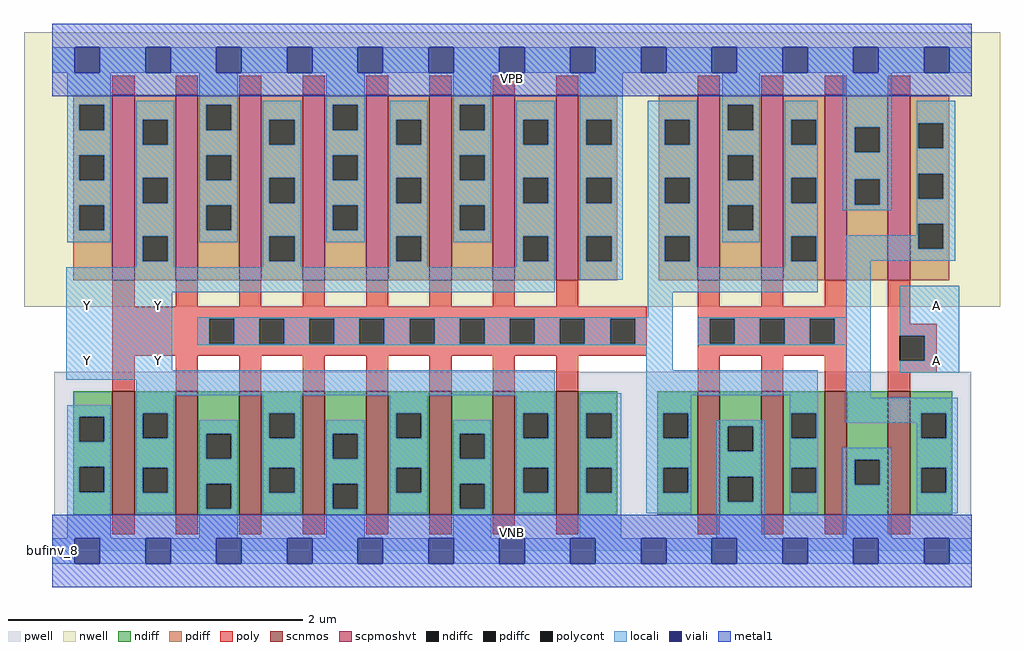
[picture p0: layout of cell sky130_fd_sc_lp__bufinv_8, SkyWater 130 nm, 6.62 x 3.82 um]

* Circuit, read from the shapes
.subckt sky130_fd_sc_lp__bufinv_8 A VGND VNB VPB VPWR Y
XM1 Y n1 VGND VNB sky130_fd_pr__nfet_01v8 w=0.84 l=0.15 m=8
XM2 VGND n2 n1 VNB sky130_fd_pr__nfet_01v8 w=0.84 l=0.15 m=3
XM3 n2 A VGND VNB sky130_fd_pr__nfet_01v8 w=0.84 l=0.15
XM4 Y n1 VPWR VPB sky130_fd_pr__pfet_01v8_hvt w=1.26 l=0.15 m=8
XM5 VPWR n2 n1 VPB sky130_fd_pr__pfet_01v8_hvt w=1.26 l=0.15 m=3
XM6 n2 A VPWR VPB sky130_fd_pr__pfet_01v8_hvt w=1.26 l=0.15
.ends

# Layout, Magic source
magic
tech sky130A
magscale 1 2
<< nwell >>
rect -38 331 1286 704
<< pwell >>
rect 3 49 1247 243
rect 0 0 1248 49
<< scnmos >>
rect 82 49 112 217
rect 168 49 198 217
rect 254 49 284 217
rect 340 49 370 217
rect 426 49 456 217
rect 512 49 542 217
rect 598 49 628 217
rect 684 49 714 217
rect 876 49 906 217
rect 962 49 992 217
rect 1048 49 1078 217
rect 1134 49 1164 217
<< scpmoshvt >>
rect 82 367 112 619
rect 168 367 198 619
rect 254 367 284 619
rect 340 367 370 619
rect 426 367 456 619
rect 512 367 542 619
rect 598 367 628 619
rect 684 367 714 619
rect 876 367 906 619
rect 962 367 992 619
rect 1048 367 1078 619
rect 1134 367 1164 619
<< ndiff >>
rect 29 182 82 217
rect 29 148 37 182
rect 71 148 82 182
rect 29 114 82 148
rect 29 80 37 114
rect 71 80 82 114
rect 29 49 82 80
rect 112 187 168 217
rect 112 153 123 187
rect 157 153 168 187
rect 112 113 168 153
rect 112 79 123 113
rect 157 79 168 113
rect 112 49 168 79
rect 198 159 254 217
rect 198 125 209 159
rect 243 125 254 159
rect 198 91 254 125
rect 198 57 209 91
rect 243 57 254 91
rect 198 49 254 57
rect 284 187 340 217
rect 284 153 295 187
rect 329 153 340 187
rect 284 113 340 153
rect 284 79 295 113
rect 329 79 340 113
rect 284 49 340 79
rect 370 159 426 217
rect 370 125 381 159
rect 415 125 426 159
rect 370 91 426 125
rect 370 57 381 91
rect 415 57 426 91
rect 370 49 426 57
rect 456 187 512 217
rect 456 153 467 187
rect 501 153 512 187
rect 456 113 512 153
rect 456 79 467 113
rect 501 79 512 113
rect 456 49 512 79
rect 542 159 598 217
rect 542 125 553 159
rect 587 125 598 159
rect 542 91 598 125
rect 542 57 553 91
rect 587 57 598 91
rect 542 49 598 57
rect 628 187 684 217
rect 628 153 639 187
rect 673 153 684 187
rect 628 113 684 153
rect 628 79 639 113
rect 673 79 684 113
rect 628 49 684 79
rect 714 187 767 217
rect 714 153 725 187
rect 759 153 767 187
rect 714 113 767 153
rect 714 79 725 113
rect 759 79 767 113
rect 714 49 767 79
rect 821 187 876 217
rect 821 153 829 187
rect 863 153 876 187
rect 821 113 876 153
rect 821 79 829 113
rect 863 79 876 113
rect 821 49 876 79
rect 906 169 962 217
rect 906 135 917 169
rect 951 135 962 169
rect 906 101 962 135
rect 906 67 917 101
rect 951 67 962 101
rect 906 49 962 67
rect 992 187 1048 217
rect 992 153 1003 187
rect 1037 153 1048 187
rect 992 113 1048 153
rect 992 79 1003 113
rect 1037 79 1048 113
rect 992 49 1048 79
rect 1078 124 1134 217
rect 1078 90 1089 124
rect 1123 90 1134 124
rect 1078 49 1134 90
rect 1164 187 1221 217
rect 1164 153 1179 187
rect 1213 153 1221 187
rect 1164 113 1221 153
rect 1164 79 1179 113
rect 1213 79 1221 113
rect 1164 49 1221 79
<< pdiff >>
rect 29 605 82 619
rect 29 571 37 605
rect 71 571 82 605
rect 29 537 82 571
rect 29 503 37 537
rect 71 503 82 537
rect 29 469 82 503
rect 29 435 37 469
rect 71 435 82 469
rect 29 367 82 435
rect 112 585 168 619
rect 112 551 123 585
rect 157 551 168 585
rect 112 506 168 551
rect 112 472 123 506
rect 157 472 168 506
rect 112 427 168 472
rect 112 393 123 427
rect 157 393 168 427
rect 112 367 168 393
rect 198 605 254 619
rect 198 571 209 605
rect 243 571 254 605
rect 198 537 254 571
rect 198 503 209 537
rect 243 503 254 537
rect 198 469 254 503
rect 198 435 209 469
rect 243 435 254 469
rect 198 367 254 435
rect 284 585 340 619
rect 284 551 295 585
rect 329 551 340 585
rect 284 506 340 551
rect 284 472 295 506
rect 329 472 340 506
rect 284 427 340 472
rect 284 393 295 427
rect 329 393 340 427
rect 284 367 340 393
rect 370 605 426 619
rect 370 571 381 605
rect 415 571 426 605
rect 370 537 426 571
rect 370 503 381 537
rect 415 503 426 537
rect 370 469 426 503
rect 370 435 381 469
rect 415 435 426 469
rect 370 367 426 435
rect 456 585 512 619
rect 456 551 467 585
rect 501 551 512 585
rect 456 506 512 551
rect 456 472 467 506
rect 501 472 512 506
rect 456 427 512 472
rect 456 393 467 427
rect 501 393 512 427
rect 456 367 512 393
rect 542 605 598 619
rect 542 571 553 605
rect 587 571 598 605
rect 542 537 598 571
rect 542 503 553 537
rect 587 503 598 537
rect 542 469 598 503
rect 542 435 553 469
rect 587 435 598 469
rect 542 367 598 435
rect 628 585 684 619
rect 628 551 639 585
rect 673 551 684 585
rect 628 506 684 551
rect 628 472 639 506
rect 673 472 684 506
rect 628 427 684 472
rect 628 393 639 427
rect 673 393 684 427
rect 628 367 684 393
rect 714 585 767 619
rect 714 551 725 585
rect 759 551 767 585
rect 714 506 767 551
rect 714 472 725 506
rect 759 472 767 506
rect 714 427 767 472
rect 714 393 725 427
rect 759 393 767 427
rect 714 367 767 393
rect 823 585 876 619
rect 823 551 831 585
rect 865 551 876 585
rect 823 506 876 551
rect 823 472 831 506
rect 865 472 876 506
rect 823 427 876 472
rect 823 393 831 427
rect 865 393 876 427
rect 823 367 876 393
rect 906 605 962 619
rect 906 571 917 605
rect 951 571 962 605
rect 906 537 962 571
rect 906 503 917 537
rect 951 503 962 537
rect 906 469 962 503
rect 906 435 917 469
rect 951 435 962 469
rect 906 367 962 435
rect 992 585 1048 619
rect 992 551 1003 585
rect 1037 551 1048 585
rect 992 506 1048 551
rect 992 472 1003 506
rect 1037 472 1048 506
rect 992 427 1048 472
rect 992 393 1003 427
rect 1037 393 1048 427
rect 992 367 1048 393
rect 1078 575 1134 619
rect 1078 541 1089 575
rect 1123 541 1134 575
rect 1078 504 1134 541
rect 1078 470 1089 504
rect 1123 470 1134 504
rect 1078 367 1134 470
rect 1164 580 1217 619
rect 1164 546 1175 580
rect 1209 546 1217 580
rect 1164 512 1217 546
rect 1164 478 1175 512
rect 1209 478 1217 512
rect 1164 444 1217 478
rect 1164 410 1175 444
rect 1209 410 1217 444
rect 1164 367 1217 410
<< ndiffc >>
rect 37 148 71 182
rect 37 80 71 114
rect 123 153 157 187
rect 123 79 157 113
rect 209 125 243 159
rect 209 57 243 91
rect 295 153 329 187
rect 295 79 329 113
rect 381 125 415 159
rect 381 57 415 91
rect 467 153 501 187
rect 467 79 501 113
rect 553 125 587 159
rect 553 57 587 91
rect 639 153 673 187
rect 639 79 673 113
rect 725 153 759 187
rect 725 79 759 113
rect 829 153 863 187
rect 829 79 863 113
rect 917 135 951 169
rect 917 67 951 101
rect 1003 153 1037 187
rect 1003 79 1037 113
rect 1089 90 1123 124
rect 1179 153 1213 187
rect 1179 79 1213 113
<< pdiffc >>
rect 37 571 71 605
rect 37 503 71 537
rect 37 435 71 469
rect 123 551 157 585
rect 123 472 157 506
rect 123 393 157 427
rect 209 571 243 605
rect 209 503 243 537
rect 209 435 243 469
rect 295 551 329 585
rect 295 472 329 506
rect 295 393 329 427
rect 381 571 415 605
rect 381 503 415 537
rect 381 435 415 469
rect 467 551 501 585
rect 467 472 501 506
rect 467 393 501 427
rect 553 571 587 605
rect 553 503 587 537
rect 553 435 587 469
rect 639 551 673 585
rect 639 472 673 506
rect 639 393 673 427
rect 725 551 759 585
rect 725 472 759 506
rect 725 393 759 427
rect 831 551 865 585
rect 831 472 865 506
rect 831 393 865 427
rect 917 571 951 605
rect 917 503 951 537
rect 917 435 951 469
rect 1003 551 1037 585
rect 1003 472 1037 506
rect 1003 393 1037 427
rect 1089 541 1123 575
rect 1089 470 1123 504
rect 1175 546 1209 580
rect 1175 478 1209 512
rect 1175 410 1209 444
<< poly >>
rect 82 619 112 645
rect 168 619 198 645
rect 254 619 284 645
rect 340 619 370 645
rect 426 619 456 645
rect 512 619 542 645
rect 598 619 628 645
rect 684 619 714 645
rect 876 619 906 645
rect 962 619 992 645
rect 1048 619 1078 645
rect 1134 619 1164 645
rect 82 331 112 367
rect 168 331 198 367
rect 254 331 284 367
rect 340 331 370 367
rect 426 331 456 367
rect 512 331 542 367
rect 598 331 628 367
rect 684 331 714 367
rect 876 331 906 367
rect 962 331 992 367
rect 1048 331 1078 367
rect 82 315 807 331
rect 82 281 213 315
rect 247 281 281 315
rect 315 281 349 315
rect 383 281 417 315
rect 451 281 485 315
rect 519 281 553 315
rect 587 281 621 315
rect 655 281 689 315
rect 723 281 757 315
rect 791 281 807 315
rect 82 265 807 281
rect 876 315 1078 331
rect 876 281 892 315
rect 926 281 960 315
rect 994 281 1028 315
rect 1062 281 1078 315
rect 876 265 1078 281
rect 82 217 112 265
rect 168 217 198 265
rect 254 217 284 265
rect 340 217 370 265
rect 426 217 456 265
rect 512 217 542 265
rect 598 217 628 265
rect 684 217 714 265
rect 876 217 906 265
rect 962 217 992 265
rect 1048 217 1078 265
rect 1134 308 1164 367
rect 1134 292 1200 308
rect 1134 258 1150 292
rect 1184 258 1200 292
rect 1134 242 1200 258
rect 1134 217 1164 242
rect 82 23 112 49
rect 168 23 198 49
rect 254 23 284 49
rect 340 23 370 49
rect 426 23 456 49
rect 512 23 542 49
rect 598 23 628 49
rect 684 23 714 49
rect 876 23 906 49
rect 962 23 992 49
rect 1048 23 1078 49
rect 1134 23 1164 49
<< polycont >>
rect 213 281 247 315
rect 281 281 315 315
rect 349 281 383 315
rect 417 281 451 315
rect 485 281 519 315
rect 553 281 587 315
rect 621 281 655 315
rect 689 281 723 315
rect 757 281 791 315
rect 892 281 926 315
rect 960 281 994 315
rect 1028 281 1062 315
rect 1150 258 1184 292
<< locali >>
rect 0 649 31 683
rect 65 649 127 683
rect 161 649 223 683
rect 257 649 319 683
rect 353 649 415 683
rect 449 649 511 683
rect 545 649 607 683
rect 641 649 703 683
rect 737 649 799 683
rect 833 649 895 683
rect 929 649 991 683
rect 1025 649 1087 683
rect 1121 649 1183 683
rect 1217 649 1248 683
rect 21 605 80 649
rect 21 571 37 605
rect 71 571 80 605
rect 21 537 80 571
rect 21 503 37 537
rect 71 503 80 537
rect 21 469 80 503
rect 21 435 37 469
rect 71 435 80 469
rect 21 419 80 435
rect 114 585 166 611
rect 114 551 123 585
rect 157 551 166 585
rect 114 506 166 551
rect 114 472 123 506
rect 157 472 166 506
rect 114 427 166 472
rect 114 393 123 427
rect 157 393 166 427
rect 200 605 252 649
rect 200 571 209 605
rect 243 571 252 605
rect 200 537 252 571
rect 200 503 209 537
rect 243 503 252 537
rect 200 469 252 503
rect 200 435 209 469
rect 243 435 252 469
rect 200 419 252 435
rect 286 585 338 611
rect 286 551 295 585
rect 329 551 338 585
rect 286 506 338 551
rect 286 472 295 506
rect 329 472 338 506
rect 286 427 338 472
rect 114 385 166 393
rect 286 393 295 427
rect 329 393 338 427
rect 372 605 424 649
rect 372 571 381 605
rect 415 571 424 605
rect 372 537 424 571
rect 372 503 381 537
rect 415 503 424 537
rect 372 469 424 503
rect 372 435 381 469
rect 415 435 424 469
rect 372 419 424 435
rect 458 585 510 611
rect 458 551 467 585
rect 501 551 510 585
rect 458 506 510 551
rect 458 472 467 506
rect 501 472 510 506
rect 458 427 510 472
rect 286 385 338 393
rect 458 393 467 427
rect 501 393 510 427
rect 544 605 596 649
rect 544 571 553 605
rect 587 571 596 605
rect 544 537 596 571
rect 544 503 553 537
rect 587 503 596 537
rect 544 469 596 503
rect 544 435 553 469
rect 587 435 596 469
rect 544 419 596 435
rect 630 585 682 611
rect 630 551 639 585
rect 673 551 682 585
rect 630 506 682 551
rect 630 472 639 506
rect 673 472 682 506
rect 630 427 682 472
rect 458 385 510 393
rect 630 393 639 427
rect 673 393 682 427
rect 630 385 682 393
rect 19 351 682 385
rect 716 585 774 649
rect 716 551 725 585
rect 759 551 774 585
rect 716 506 774 551
rect 716 472 725 506
rect 759 472 774 506
rect 716 427 774 472
rect 716 393 725 427
rect 759 393 774 427
rect 716 368 774 393
rect 808 585 875 611
rect 808 551 831 585
rect 865 551 875 585
rect 808 506 875 551
rect 808 472 831 506
rect 865 472 875 506
rect 808 427 875 472
rect 808 393 831 427
rect 865 393 875 427
rect 909 605 960 649
rect 909 571 917 605
rect 951 571 960 605
rect 909 537 960 571
rect 909 503 917 537
rect 951 503 960 537
rect 909 469 960 503
rect 909 435 917 469
rect 951 435 960 469
rect 909 419 960 435
rect 994 585 1039 611
rect 994 551 1003 585
rect 1037 551 1039 585
rect 994 506 1039 551
rect 994 472 1003 506
rect 1037 472 1039 506
rect 994 427 1039 472
rect 1073 575 1139 649
rect 1073 541 1089 575
rect 1123 541 1139 575
rect 1073 504 1139 541
rect 1073 470 1089 504
rect 1123 470 1139 504
rect 1073 462 1139 470
rect 1173 580 1225 611
rect 1173 546 1175 580
rect 1209 546 1225 580
rect 1173 512 1225 546
rect 1173 478 1175 512
rect 1209 478 1225 512
rect 1173 444 1225 478
rect 1173 428 1175 444
rect 808 385 875 393
rect 994 393 1003 427
rect 1037 393 1039 427
rect 994 385 1039 393
rect 808 351 1039 385
rect 1077 410 1175 428
rect 1209 410 1225 444
rect 1077 394 1225 410
rect 19 245 163 351
rect 808 317 842 351
rect 1077 317 1111 394
rect 197 315 842 317
rect 197 281 213 315
rect 247 281 281 315
rect 315 281 349 315
rect 383 281 417 315
rect 451 281 485 315
rect 519 281 553 315
rect 587 281 621 315
rect 655 281 689 315
rect 723 281 757 315
rect 791 281 842 315
rect 197 279 842 281
rect 876 315 1111 317
rect 876 281 892 315
rect 926 281 960 315
rect 994 281 1028 315
rect 1062 281 1111 315
rect 876 279 1111 281
rect 806 245 842 279
rect 19 232 682 245
rect 114 211 682 232
rect 21 182 80 198
rect 21 148 37 182
rect 71 148 80 182
rect 21 114 80 148
rect 21 80 37 114
rect 71 80 80 114
rect 21 17 80 80
rect 114 187 166 211
rect 114 153 123 187
rect 157 153 166 187
rect 286 187 338 211
rect 114 113 166 153
rect 114 79 123 113
rect 157 79 166 113
rect 114 51 166 79
rect 200 159 252 177
rect 200 125 209 159
rect 243 125 252 159
rect 200 91 252 125
rect 200 57 209 91
rect 243 57 252 91
rect 200 17 252 57
rect 286 153 295 187
rect 329 153 338 187
rect 458 187 510 211
rect 286 113 338 153
rect 286 79 295 113
rect 329 79 338 113
rect 286 51 338 79
rect 372 159 424 177
rect 372 125 381 159
rect 415 125 424 159
rect 372 91 424 125
rect 372 57 381 91
rect 415 57 424 91
rect 372 17 424 57
rect 458 153 467 187
rect 501 153 510 187
rect 630 187 682 211
rect 458 113 510 153
rect 458 79 467 113
rect 501 79 510 113
rect 458 51 510 79
rect 544 159 596 177
rect 544 125 553 159
rect 587 125 596 159
rect 544 91 596 125
rect 544 57 553 91
rect 587 57 596 91
rect 544 17 596 57
rect 630 153 639 187
rect 673 153 682 187
rect 630 113 682 153
rect 630 79 639 113
rect 673 79 682 113
rect 630 51 682 79
rect 716 187 772 214
rect 716 153 725 187
rect 759 153 772 187
rect 716 113 772 153
rect 716 79 725 113
rect 759 79 772 113
rect 716 17 772 79
rect 806 211 1039 245
rect 806 187 867 211
rect 806 153 829 187
rect 863 153 867 187
rect 1001 187 1039 211
rect 806 113 867 153
rect 806 79 829 113
rect 863 79 867 113
rect 806 51 867 79
rect 901 169 967 177
rect 901 135 917 169
rect 951 135 967 169
rect 901 101 967 135
rect 901 67 917 101
rect 951 67 967 101
rect 901 17 967 67
rect 1001 153 1003 187
rect 1037 153 1039 187
rect 1077 208 1111 279
rect 1150 292 1231 360
rect 1184 258 1231 292
rect 1150 242 1231 258
rect 1077 187 1229 208
rect 1077 174 1179 187
rect 1001 113 1039 153
rect 1173 153 1179 174
rect 1213 153 1229 187
rect 1001 79 1003 113
rect 1037 79 1039 113
rect 1001 51 1039 79
rect 1073 124 1139 140
rect 1073 90 1089 124
rect 1123 90 1139 124
rect 1073 17 1139 90
rect 1173 113 1229 153
rect 1173 79 1179 113
rect 1213 79 1229 113
rect 1173 51 1229 79
rect 0 -17 31 17
rect 65 -17 127 17
rect 161 -17 223 17
rect 257 -17 319 17
rect 353 -17 415 17
rect 449 -17 511 17
rect 545 -17 607 17
rect 641 -17 703 17
rect 737 -17 799 17
rect 833 -17 895 17
rect 929 -17 991 17
rect 1025 -17 1087 17
rect 1121 -17 1183 17
rect 1217 -17 1248 17
<< viali >>
rect 31 649 65 683
rect 127 649 161 683
rect 223 649 257 683
rect 319 649 353 683
rect 415 649 449 683
rect 511 649 545 683
rect 607 649 641 683
rect 703 649 737 683
rect 799 649 833 683
rect 895 649 929 683
rect 991 649 1025 683
rect 1087 649 1121 683
rect 1183 649 1217 683
rect 31 -17 65 17
rect 127 -17 161 17
rect 223 -17 257 17
rect 319 -17 353 17
rect 415 -17 449 17
rect 511 -17 545 17
rect 607 -17 641 17
rect 703 -17 737 17
rect 799 -17 833 17
rect 895 -17 929 17
rect 991 -17 1025 17
rect 1087 -17 1121 17
rect 1183 -17 1217 17
<< metal1 >>
rect 0 683 1248 715
rect 0 649 31 683
rect 65 649 127 683
rect 161 649 223 683
rect 257 649 319 683
rect 353 649 415 683
rect 449 649 511 683
rect 545 649 607 683
rect 641 649 703 683
rect 737 649 799 683
rect 833 649 895 683
rect 929 649 991 683
rect 1025 649 1087 683
rect 1121 649 1183 683
rect 1217 649 1248 683
rect 0 617 1248 649
rect 0 17 1248 49
rect 0 -17 31 17
rect 65 -17 127 17
rect 161 -17 223 17
rect 257 -17 319 17
rect 353 -17 415 17
rect 449 -17 511 17
rect 545 -17 607 17
rect 641 -17 703 17
rect 737 -17 799 17
rect 833 -17 895 17
rect 929 -17 991 17
rect 1025 -17 1087 17
rect 1121 -17 1183 17
rect 1217 -17 1248 17
rect 0 -49 1248 -17
<< labels >>
flabel pwell s 0 0 1248 49 0 FreeSans 200 0 0 0 VNB
port 3 nsew ground bidirectional
flabel nwell s 0 617 1248 666 0 FreeSans 200 0 0 0 VPB
port 4 nsew power bidirectional
rlabel comment s 0 0 0 0 4 bufinv_8
flabel metal1 s 0 617 1248 666 0 FreeSans 340 0 0 0 VPWR
port 5 nsew power bidirectional
flabel metal1 s 0 0 1248 49 0 FreeSans 340 0 0 0 VGND
port 2 nsew ground bidirectional
flabel locali s 1183 242 1217 276 0 FreeSans 340 0 0 0 A
port 1 nsew signal input
flabel locali s 1183 316 1217 350 0 FreeSans 340 0 0 0 A
port 1 nsew signal input
flabel locali s 31 242 65 276 0 FreeSans 340 0 0 0 Y
port 6 nsew signal output
flabel locali s 127 242 161 276 0 FreeSans 340 0 0 0 Y
port 6 nsew signal output
flabel locali s 31 316 65 350 0 FreeSans 340 0 0 0 Y
port 6 nsew signal output
flabel locali s 127 316 161 350 0 FreeSans 340 0 0 0 Y
port 6 nsew signal output
<< properties >>
string LEFsite unit
string LEFclass CORE
string FIXED_BBOX 0 0 1248 666
string GDS_FILE $PDKPATH/libs.ref/sky130_fd_sc_lp/gds/sky130_fd_sc_lp.gds
string LEFsymmetry X Y R90
string GDS_END 1623856
string GDS_START 1612638
<< end >>
